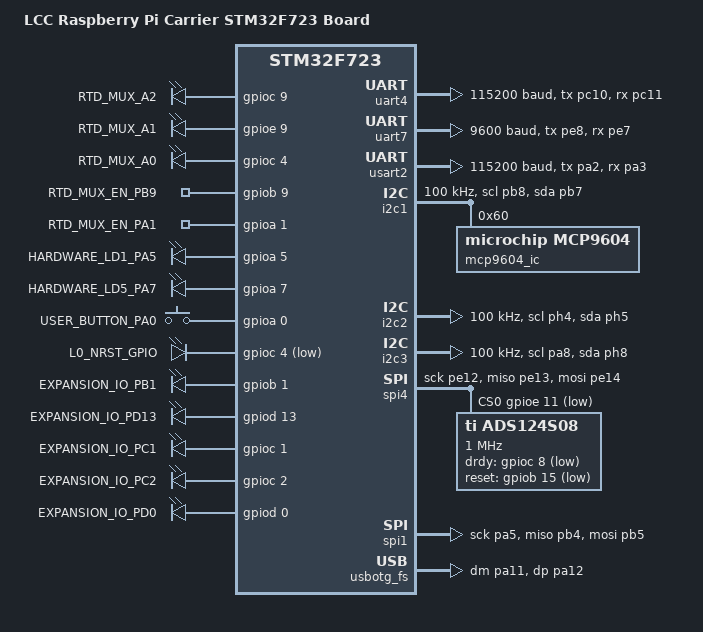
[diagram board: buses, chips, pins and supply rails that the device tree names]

/*
 * SPDX-License-Identifier: Apache-2.0
 * * Custom Board Devicetree for LCC Raspberry Pi Carrier STM32F723 Board
 * Structured for scalability, easy maintenance, and explicit GPIO naming.
 */

/dts-v1/;

#include <st/f7/stm32f7.dtsi>
#include <st/f7/stm32f723Xe.dtsi>
#include <st/f7/stm32f723i(c-e)kx-pinctrl.dtsi>// zephyr->modules->hal->stm32->dts
#include <zephyr/dt-bindings/sensor/mcp9600.h>



//#include <zephyr/dt-bindings/pinctrl/stm32-pinctrl.h>


#include <zephyr/dt-bindings/input/input-event-codes.h>
/ {
    model = "LCC Raspberry Pi Carrier STM32F723 Board";
    compatible = "lcc,lcc_rpi_carrier_stm32f723";

    chosen {
        // zephyr,console = &usart6;
        // zephyr,shell-uart = &usart6;
        zephyr,sram = &sram0;
        zephyr,flash = &flash0;
        // zephyr,flash-controller = &mx25r512;
    };

    /* * =========================================================================
     * GPIO CONFIGURATIONS (LEDS, BUTTONS, & GENERAL PURPOSE IO)
     * =========================================================================
     */
    rtd_mux: rtd_mux {
        compatible = "gpio-leds";

        mux_addr2: mux_a2 {
            gpios = <&gpioc 9 GPIO_ACTIVE_HIGH>;
            label = "RTD_MUX_A2";
        };
        mux_addr1: mux_a1 {
            gpios = <&gpioe 9 GPIO_ACTIVE_HIGH>;
            label = "RTD_MUX_A1";
        };
        mux_addr0: mux_a0 {
            gpios = <&gpioc 4 GPIO_ACTIVE_HIGH>;
            label = "RTD_MUX_A0";
        };

        /*Complementary MUX Enable / Select Pins */
        mux_en1_b9: mux_en1_b9 {
            gpios = <&gpiob 9 GPIO_ACTIVE_HIGH>;
            label = "RTD_MUX_EN_PB9";
        };
        mux_en2_a1: mux_en2_a1 {
            gpios = <&gpioa 1 GPIO_ACTIVE_HIGH>;
            label = "RTD_MUX_EN_PA1";
        };




    };
    
    /* Standard LED Nodes */
    leds {
        compatible = "gpio-leds";

        gpio_pa5: led_pa5 {
            gpios = <&gpioa 5 GPIO_ACTIVE_HIGH>;
            label = "HARDWARE_LD1_PA5";
        };

        gpio_pa7: led_pa7 {
            gpios = <&gpioa 7 GPIO_ACTIVE_HIGH>;
            label = "HARDWARE_LD5_PA7";
        };

        // gpio_pb1: led_pb1 {
        //     gpios = <&gpiob 1 GPIO_ACTIVE_HIGH>;
        //     label = "HARDWARE_LD6_PB1";
        // };
    };

    /* Input Keys / Interrupt-driven Buttons */
    gpio_keys {
        compatible = "gpio-keys";

        gpio_pa0: button_pa0 {
            gpios = <&gpioa 0 GPIO_ACTIVE_HIGH>;
            label = "USER_BUTTON_PA0";
            zephyr,code = <INPUT_KEY_0>;
        };
    };

    /* * SCALABLE GPIO EXPANSION:
     * Use this block to map miscellaneous digital inputs/outputs on your board.
     * Binding to "gpio-leds" lets you manipulate them easily in C code using:
     * gpio_pin_configure_dt() / gpio_pin_set_dt()
     */
    custom_gpios {
        compatible = "gpio-leds";

        /* Template: Duplicate and modify these blocks as your board needs grow */

        l0_reset_pin: l0_reset_pin {
            gpios = <&gpioc 4 GPIO_ACTIVE_LOW>;
            label = "L0_NRST_GPIO";
        };

		gpio_pb1: io_pb1 {
            gpios = <&gpiob 1 GPIO_ACTIVE_HIGH>;
            label = "EXPANSION_IO_PB1";
        };

		gpio_pd13: io_pd13 {
            gpios = <&gpiod 13 GPIO_ACTIVE_HIGH>;
            label = "EXPANSION_IO_PD13";
        };


        gpio_pc1: io_pc1 {
            gpios = <&gpioc 1 GPIO_ACTIVE_HIGH>;
            label = "EXPANSION_IO_PC1";
        };

        gpio_pc2: io_pc2 {
            gpios = <&gpioc 2 GPIO_ACTIVE_HIGH>;
            label = "EXPANSION_IO_PC2";
        };

        gpio_pd0: io_pd0 {
            gpios = <&gpiod 0 GPIO_ACTIVE_HIGH>;
            label = "EXPANSION_IO_PD0";
        };
    };


  
    /* Application-friendly aliases for your main application logic loop */
    aliases {
        l0-reset = &l0_reset_pin;
        led0 = &gpio_pa5;
        led1 = &gpio_pa7;
        // led2 = &gpio_pb1;
        sw0  = &gpio_pa0;
        /* Custom io aliases can be mapped here as well (e.g., test-point = &gpio_pc1;) */
        /* ADD THESE TWO LINES FOR YOUR TASKS */
        vacuum-gpio = &gpio_pd13;    /* Points to io_pd13 (Pin D13) */
        collector-gpio = &gpio_pb1; /* Points to io_pb1 (Pin B1) */
        mux-a0 = &mux_addr0;
        mux-a1 = &mux_addr1;
        mux-a2 = &mux_addr2;

         /* Aliases for PB9 and PA1 */
        mux-en1 = &mux_en1_b9;
        mux-en2 = &mux_en2_a1;

    };
};

/* * =========================================================================
 * CLOCK & SYSTEM SYSTEM CONFIGURATION
 * =========================================================================
 */

&clk_hse {
    clock-frequency = <DT_FREQ_M(25)>;
    status = "disabled"; /* Change to "okay" if utilizing an external crystal oscillator */
};

&clk_hsi {
    status = "okay";
};

&pll {
    div-m = <8>;
    mul-n = <216>;
    div-p = <2>;
    div-q = <9>;
    clocks = <&clk_hsi>;
    status = "okay";
};

&rcc {
    clocks = <&pll>;
    clock-frequency = <DT_FREQ_M(216)>;
    ahb-prescaler = <1>;
    apb1-prescaler = <4>;
    apb2-prescaler = <2>;
};

/* * =========================================================================
 * COMMUNICATION PROTOCOLS (UARTS, I2C, SPI)
 * =========================================================================
 */

/* =========================================================================
 * UART4 + DMA ::::::::::::Accessory IOB:::::::
 * ========================================================================= */

&uart4 {
    /* PC10 is TX, PC11 is RX using alternative function mappings */
    pinctrl-0 = <&uart4_tx_pc10 &uart4_rx_pc11>;
    pinctrl-names = "default";
    current-speed = <115200>; /* Adjust to match accessory IOB */
    status = "okay";

    /* DMA mapping for STM32F7 UART4 */
    dmas = <&dma1 4 4 (STM32_DMA_PERIPH_TX | STM32_DMA_PRIORITY_HIGH) 0>,  /* Stream 4, Channel 4 (TX) */
           <&dma1 2 4 (STM32_DMA_PERIPH_RX | STM32_DMA_PRIORITY_HIGH) 0>;  /* Stream 2, Channel 4 (RX) */
    
    dma-names = "tx", "rx";
};


/* =========================================================================
 * CUSTOM TERMINAL DISPLAY CONFIGURATION (UART7 + DMA1)
 * ========================================================================= */


&uart7 {
    /* PE7 is RX, PE8 is TX using alternative function mappings */
    pinctrl-0 = <&uart7_tx_pe8 &uart7_rx_pe7>;
    pinctrl-names = "default";
    current-speed = <9600>;
    status = "okay";

    /* FIXED: Raw hex values explicitly resolve the parsing shift */
    dmas = <&dma1 1 5 (STM32_DMA_PERIPH_TX | STM32_DMA_PRIORITY_HIGH) 0>,  /* Stream 1, Channel 5 (TX Channel) */
           <&dma1 3 5 (STM32_DMA_PERIPH_RX | STM32_DMA_PRIORITY_HIGH) 0>;  /* Stream 3, Channel 5 (RX Channel) */

    //single-wire;       
    dma-names = "tx", "rx";
};




&dma1 {
    status = "okay";
};



/* Auxiliary Communication Channel / Modbus / External Peripherals */
&usart2 {
    pinctrl-0 = <&usart2_tx_pa2 &usart2_rx_pa3>;
    pinctrl-names = "default";
    current-speed = <115200>;
    status = "okay";
};


/* I2C Bus 1 - e.g., Onboard EEPROM or Sensors */


/* I2C Bus 1 - Dedicated to MCP9604 Thermocouple Converter */
&i2c1 {
    pinctrl-0 = <&i2c1_scl_pb8 &i2c1_sda_pb7>; 
    pinctrl-names = "default";
    clock-frequency = <I2C_BITRATE_STANDARD>; 
    status = "okay";

    /* Declare the single physical chip address */
    mcp9604_ic: mcp9604@60 {
        compatible = "microchip,mcp9604";
        reg = <0x60>;
        status = "okay";
    };
};



/* I2C Bus 2 - e.g., Display or Real-Time Clock */
&i2c2 {
    pinctrl-0 = <&i2c2_scl_ph4 &i2c2_sda_ph5>;
    pinctrl-names = "default";
    clock-frequency = <I2C_BITRATE_STANDARD>;
    status = "okay";
};

/* I2C Bus 3 - Expansion Header */
&i2c3 {
    pinctrl-0 = <&i2c3_scl_pa8 &i2c3_sda_ph8>;
    pinctrl-names = "default";
    clock-frequency = <I2C_BITRATE_STANDARD>;
    status = "okay";
};


&spi4 {
    pinctrl-0 = <&spi4_sck_pe12 &spi4_miso_pe13 &spi4_mosi_pe14>;
    pinctrl-names = "default";
    status = "okay";
    
    /* Define the CS pin here for the bus controller */
    cs-gpios = <&gpioe 11 GPIO_ACTIVE_LOW>;
            //    <&gpioe 9 GPIO_ACTIVE_LOW>;
    

    /* Existing ADS124S08 using CS index 0 */
    ads124s08@0 {
        compatible = "ti,ads124s08";
        reg = <0>; /* Maps to cs-gpios index 0 */
        spi-max-frequency = <1000000>;
        spi-cpha; 
        #io-channel-cells = <1>;
        #address-cells = <1>;
        #size-cells = <0>;

        idac-current = <100>;
        drdy-gpios = <&gpioc 8 GPIO_ACTIVE_LOW>; 
        reset-gpios = <&gpiob 15 GPIO_ACTIVE_LOW>;

        channel@0 {
            reg = <0>;
            zephyr,gain = "ADC_GAIN_1";
            zephyr,reference = "ADC_REF_INTERNAL";
            zephyr,acquisition-time = <ADC_ACQ_TIME_DEFAULT>;
            zephyr,input-positive = <1>; 
            zephyr,input-negative = <0>;
        };
    };


    // ltc2983: ltc2983@1 {
    //     compatible = "adi,ltc2983";
    //     reg = <1>;

    //     spi-max-frequency = <1000000>;

    //     spi-cpha;

    //     duplex = <0>;
    //     frame-format = <0>;
    //     spi-interframe-delay-ns = <0>;

    //     status = "okay";
    // };

};


/* SPI Bus 1 - High-speed peripheral bus */
&spi1 {
    pinctrl-0 = <&spi1_sck_pa5 &spi1_miso_pb4 &spi1_mosi_pb5>;
    pinctrl-names = "default";
    status = "okay";
    
    /* * Define custom GPIO Chip Selects here to use Zephyr's automated CS management.
     * Example: cs-gpios = <&gpioa 4 GPIO_ACTIVE_LOW>;
     */
};

/* * =========================================================================
 * EXTERNAL STORAGE & HIGH-SPEED FLASH (QSPI)
 * =========================================================================
 */
// &quadspi {
//     pinctrl-names = "default";
//     pinctrl-0 = <&quadspi_clk_pb2    &quadspi_bk1_ncs_pb6
//                  &quadspi_bk1_io0_pc9 &quadspi_bk1_io1_pc10
//                  &quadspi_bk1_io2_pe2 &quadspi_bk1_io3_pd13>;
//     flash-id = <1>;
//     status = "okay";

//     mx25r512: qspi-nor-flash@0 {
//         compatible = "st,stm32-qspi-nor";
//         reg = <0>;
//         size = <DT_SIZE_M(512)>; /* 512 Mbits (64 Megabytes) */
//         qspi-max-frequency = <8000000>;
//         cs-high-time = <3>; /* >= 30 ns */
//         spi-bus-width = <4>;
//         writeoc = "PP_1_4_4";
//         status = "okay";
//     };
// };

/* * =========================================================================
 * USB DEVICE CONFIGURATION
 * =========================================================================
 */
zephyr_udc0: &usbotg_fs {
    pinctrl-0 = <&usb_otg_fs_dm_pa11 &usb_otg_fs_dp_pa12>;
    pinctrl-names = "default";
    status = "okay";
};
